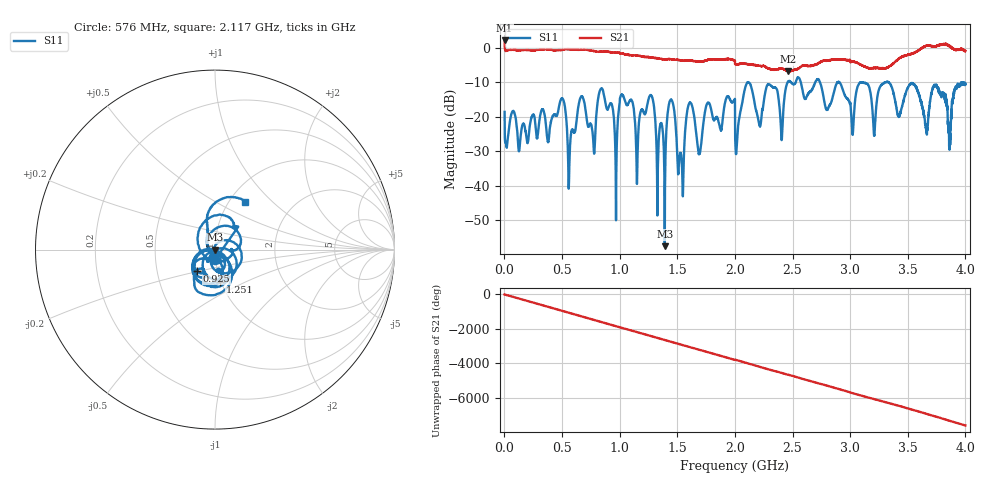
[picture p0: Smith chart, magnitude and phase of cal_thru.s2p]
!Created with skrf (http://scikit-rf.org).
# GHz S RI R 50.0
!freq ReS11 ImS11 ReS21 ImS21 ReS12 ImS12 ReS22 ImS22
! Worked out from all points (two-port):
!   4000 points, 1 MHz to 4 GHz, reference 50 ohm
!   highest |S21| = 2.14 dB at 1 MHz (marker M1); lowest = -6.8 dB at 2.464 GHz (marker M2)
!   |S21| within 3 dB of the highest: 15.54 MHz to 764.7 MHz (749.2 MHz wide, 192 % of centre); 3.588 GHz to 3.988 GHz (399.6 MHz wide, 10.5 % of centre) (the widest 2 of 7)
!   lowest |S11| = -57.5 dB at 1.391 GHz (marker M3), VSWR 1.00, Z = 50.1 - j0.12 ohm
!   |S11| at or under -10 dB: start of sweep to 2.111 GHz; 2.119 GHz to 2.457 GHz (338.4 MHz wide, 14.8 % of centre); 3.333 GHz to 3.963 GHz (630.2 MHz wide, 17.3 % of centre) (the widest 3 of 12)
!   S12 and S22 are empty: the file has one direction only
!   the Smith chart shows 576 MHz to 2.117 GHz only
!   S11 on the Smith chart (normalised r, x): 576 MHz: 1.00, -0.11; 925 MHz: 0.79, -0.20; 1.251 GHz: 0.99, -0.37; 2.117 GHz: 1.18, +0.70
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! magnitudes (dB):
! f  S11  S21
! 1 MHz  -18.6  2.1
! 500 MHz  -14.7  -0.6
! 576 MHz  -25.2  -0.4
! 668 MHz  -14.1  -0.5
! 925 MHz  -16.1  -1.3
! 1.151 GHz  -38.4  -2.2
! 1.251 GHz  -14.7  -2.7
! 1.334 GHz  -30.6  -3.0
! 1.391 GHz  -57.5  -3.4
! 1.444 GHz  -15.0  -3.3
! 1.535 GHz  -32.0  -3.7
! 1.608 GHz  -15.9  -3.6
! 1.69 GHz  -30.6  -4.0
! 1.765 GHz  -16.0  -3.5
! 2.001 GHz  -25.9  -4.7
! 2.117 GHz  -10.0  -4.8
! 2.404 GHz  -26.5  -6.0
! 2.464 GHz  -9.7  -6.8
! 2.667 GHz  -12.3  -5.2
! 3.334 GHz  -10.0  -5.6
! 3.861 GHz  -24.1  0.7
! 4 GHz  -10.4  -0.9
